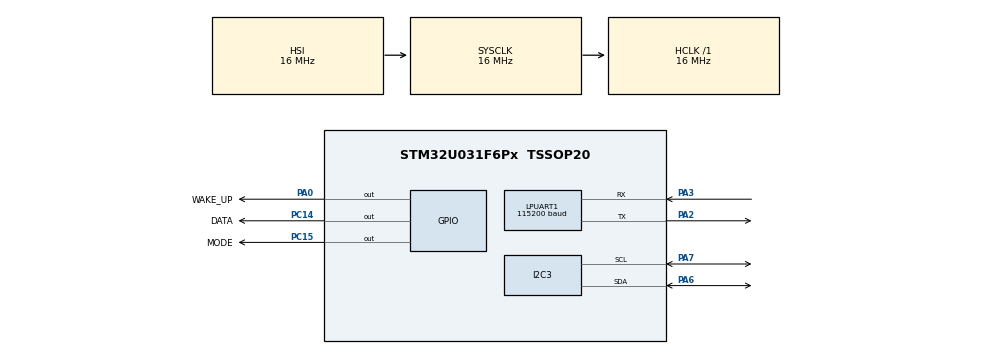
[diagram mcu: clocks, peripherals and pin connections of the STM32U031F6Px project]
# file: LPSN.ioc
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ADC1.Channel-1\#ChannelRegularConversion=ADC_CHANNEL_VBAT
ADC1.NbrOfConversionFlag=1
ADC1.Rank-1\#ChannelRegularConversion=1
ADC1.RankArg-1\#ChannelRegularConversion=ADC_REGULAR_RANK_1
ADC1.SamplingTime-1\#ChannelRegularConversion=ADC_SAMPLINGTIME_COMMON_1
ADC1.SamplingTimeCommon1=ADC_SAMPLETIME_79CYCLES_5
ADC1.SamplingTimeCommon2=ADC_SAMPLETIME_79CYCLES_5
ADC1.SelectedChannel=ADC_CHANNEL_VREFINT|ADC_CHANNEL_VBAT
ADC1.master=1
I2C3.Timing=0x00303D5B
LPUART1.BaudRate=115200
Mcu.Family=STM32U0
Mcu.Name=STM32U031F6Px
Mcu.Package=TSSOP20
NVIC.PriorityGroup=NVIC_PRIORITYGROUP_2
NVIC.RTC_TAMP_IRQn=true\:0\:0\:false\:false\:true\:true\:true\:true
PA0-CK_IN.GPIO_Label=WAKE_UP
PA0-CK_IN.Signal=GPIO_Output
PA13\ (SWDIO).Mode=Serial_Wire
PA13\ (SWDIO).Signal=DEBUG_JTMS-SWDIO
PA14\ (SWCLK).Mode=Serial_Wire
PA14\ (SWCLK).Signal=DEBUG_JTCK-SWCLK
PA14\ (SWCLK)__PB4__PB5__PB6.StandardMode=true
PA1__PA2.StandardMode=true
PA2.Mode=Asynchronous
PA2.Signal=LPUART1_TX
PA3.Mode=Asynchronous
PA3.Signal=LPUART1_RX
PA3__PA4.StandardMode=true
PA5__PA6.StandardMode=true
PA6.GPIO_Pu=GPIO_PULLUP
PA6.Mode=I2C
PA6.Signal=I2C3_SDA
PA7.GPIO_Pu=GPIO_PULLUP
PA7.Mode=I2C
PA7.Signal=I2C3_SCL
PA7__PB0.StandardMode=true
PB8__PB9.StandardMode=true
PC14-OSC32_IN.GPIO_Label=DATA
PC14-OSC32_IN.PinState=GPIO_PIN_SET
PC14-OSC32_IN.Signal=GPIO_Output
PC15-OSC32_OUT.GPIO_Label=MODE
PC15-OSC32_OUT.PinState=GPIO_PIN_SET
PC15-OSC32_OUT.Signal=GPIO_Output
ProjectManager.HeapSize=0x200
ProjectManager.StackSize=0x400
ProjectManager.TargetToolchain=CMake
RCC.AHBFreq_Value=16000000
RCC.CortexFreq_Value=16000000
RCC.HCLKFreq_Value=16000000
RCC.HSE_VALUE=4000000
RCC.HSI48_VALUE=48000000
RCC.HSI_VALUE=16000000
RCC.LSE_VALUE=32768
RCC.MSIClockRangeVal=RCC_MSIRANGE_8
RCC.MSI_VALUE=16000000
RCC.SYSCLKFreq_VALUE=16000000
RCC.VCOOutputFreq_Value=64000000
VP_ADC1_Vbat_Input.Mode=IN-Vbat
VP_ADC1_Vref_Input.Mode=IN-Vrefint
VP_PWR_VS_SECSignals.Mode=Security/Privilege
VP_RNG_VS_RNG.Mode=RNG_Activate
VP_RTC_VS_RTC_Activate.Mode=RTC_Enabled
VP_RTC_VS_RTC_Calendar.Mode=RTC_Calendar
VP_RTC_VS_RTC_WakeUp_intern.Mode=WakeUp
board=custom

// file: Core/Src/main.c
/* USER CODE BEGIN Header */
/* USER CODE END Header */
#include "main.h"

/* USER CODE BEGIN Includes */
#include <stdint.h>
#include <stdio.h>
#include <string.h>
#include <stdlib.h>
#include "e104.h"
#include "SHT40.h"
/* USER CODE END Includes */

ADC_HandleTypeDef hadc1;
I2C_HandleTypeDef hi2c3;
UART_HandleTypeDef hlpuart1;
RNG_HandleTypeDef hrng;
RTC_HandleTypeDef hrtc;

/* USER CODE BEGIN PV */

char rx_buf[32];
volatile uint8_t status_flag = 0;

typedef struct {
    float    temperature_f;   // raw float from SHT40
    float    humidity_f;      // raw float from SHT40
    int16_t  temp_encoded;    // value sent in BLE frame (x100, fixed point)
    uint16_t hum_encoded;     // value sent in BLE frame (x100, fixed point)
    uint8_t  battery_percent;
    uint8_t  sht40_ok;        // 1 = read succeeded, 0 = failed
} DebugSnapshot_t;

volatile DebugSnapshot_t g_dbg = {0};

/* USER CODE END PV */

void SystemClock_Config(void);
static void MX_GPIO_Init(void);
static void MX_LPUART1_UART_Init(void);
static void MX_I2C3_Init(void);
static void MX_ADC1_Init(void);
static void MX_RNG_Init(void);
static void MX_RTC_Init(void);
/* USER CODE BEGIN PFP */
static uint8_t adc_read_vbat_percent(void);
/* USER CODE END PFP */

int main(void)
{

  /* MCU Configuration--------------------------------------------------------*/

  /* Reset of all peripherals, Initializes the Flash interface and the Systick. */
  HAL_Init();

  /* Configure the system clock */
  SystemClock_Config();

  /* Initialize all configured peripherals */
  MX_GPIO_Init();
  MX_LPUART1_UART_Init();
  MX_I2C3_Init();
  MX_ADC1_Init();
  MX_RNG_Init();
  MX_RTC_Init();

  /* USER CODE BEGIN 2 */

    E104_Wake();
    E104_Init(&hlpuart1);

    uint32_t rand_val = 0;
    if (HAL_RNG_GenerateRandomNumber(&hrng, &rand_val) != HAL_OK) {
        rand_val = 0xDEAD;
    }

    SHT40_t sht40 = {0};
    uint8_t batt = 0;
    int16_t  temp_raw = 2137;
    uint16_t hum_raw  = 4200;

    if (SHT40_Init(&sht40, &hi2c3) == HAL_OK) {
        HAL_Delay(2);  // give sensor time after soft reset
        if (SHT40_Read_Data(&sht40) == HAL_OK) {
            temp_raw = (int16_t)(sht40.temperature * 100.0f);
            hum_raw  = (uint16_t)(sht40.humidity   * 100.0f);
        }
    }

    batt = adc_read_vbat_percent();

    BleAdvFrame_t my_frame;
    my_frame.manufacturer_id = 0xFFFF;
    my_frame.temperature     = temp_raw;
    my_frame.humidity        = hum_raw;
    my_frame.pressure        = 10120;  // TODO: LPS22HB
    my_frame.battery_percent = batt;
    my_frame.device_id       = (uint16_t)(rand_val & 0xFFFF);

    uint16_t sum = 0;
    uint8_t *p = (uint8_t *)&my_frame.temperature;
    for (size_t i = 0; i < 8; i++) {
        sum += p[i];
    }
    my_frame.magic_number = sum + 0x55aa55aa;

    uint8_t status_adv = E104_SetAdvertising(&my_frame);

    if (status_adv == 1) {
        __NOP();
    } else {
        __NOP();
    }

    HAL_Delay(5000 + 151);

    E104_Sleep();

    HAL_RTCEx_SetWakeUpTimer_IT(&hrtc, 9999, RTC_WAKEUPCLOCK_RTCCLK_DIV16, 0);
    HAL_SuspendTick();
    HAL_PWREx_EnterSTOP2Mode(PWR_STOPENTRY_WFI);

    HAL_RTCEx_DeactivateWakeUpTimer(&hrtc);
    NVIC_SystemReset();

  /* USER CODE END 2 */

  /* Infinite loop */
  while (1)
  {

  }
}

void SystemClock_Config(void)
{
  RCC_OscInitTypeDef RCC_OscInitStruct = {0};
  RCC_ClkInitTypeDef RCC_ClkInitStruct = {0};

  /** Configure the main internal regulator output voltage
  */
  HAL_PWREx_ControlVoltageScaling(PWR_REGULATOR_VOLTAGE_SCALE2);

  /** Initializes the RCC Oscillators according to the specified parameters
  * in the RCC_OscInitTypeDef structure.
  */
  RCC_OscInitStruct.OscillatorType = RCC_OSCILLATORTYPE_HSI|RCC_OSCILLATORTYPE_LSI
                              |RCC_OSCILLATORTYPE_MSI;
  RCC_OscInitStruct.HSIState = RCC_HSI_ON;
  RCC_OscInitStruct.HSICalibrationValue = RCC_HSICALIBRATION_DEFAULT;
  RCC_OscInitStruct.LSIState = RCC_LSI_ON;
  RCC_OscInitStruct.MSIState = RCC_MSI_ON;
  RCC_OscInitStruct.MSICalibrationValue = RCC_MSICALIBRATION_DEFAULT;
  RCC_OscInitStruct.MSIClockRange = RCC_MSIRANGE_8;
  RCC_OscInitStruct.PLL.PLLState = RCC_PLL_NONE;
  if (HAL_RCC_OscConfig(&RCC_OscInitStruct) != HAL_OK)
  {
    Error_Handler();
  }

  /** Initializes the CPU, AHB and APB buses clocks
  */
  RCC_ClkInitStruct.ClockType = RCC_CLOCKTYPE_HCLK|RCC_CLOCKTYPE_SYSCLK
                              |RCC_CLOCKTYPE_PCLK1;
  RCC_ClkInitStruct.SYSCLKSource = RCC_SYSCLKSOURCE_HSI;
  RCC_ClkInitStruct.AHBCLKDivider = RCC_SYSCLK_DIV1;
  RCC_ClkInitStruct.APB1CLKDivider = RCC_HCLK_DIV1;

  if (HAL_RCC_ClockConfig(&RCC_ClkInitStruct, FLASH_LATENCY_1) != HAL_OK)
  {
    Error_Handler();
  }
}

static void MX_ADC1_Init(void)
{

  ADC_ChannelConfTypeDef sConfig = {0};

  /** Configure the global features of the ADC (Clock, Resolution, Data Alignment and number of conversion)
  */
  hadc1.Instance = ADC1;
  hadc1.Init.ClockPrescaler = ADC_CLOCK_SYNC_PCLK_DIV1;
  hadc1.Init.Resolution = ADC_RESOLUTION_12B;
  hadc1.Init.DataAlign = ADC_DATAALIGN_RIGHT;
  hadc1.Init.ScanConvMode = ADC_SCAN_DISABLE;
  hadc1.Init.EOCSelection = ADC_EOC_SINGLE_CONV;
  hadc1.Init.LowPowerAutoWait = DISABLE;
  hadc1.Init.LowPowerAutoPowerOff = DISABLE;
  hadc1.Init.ContinuousConvMode = DISABLE;
  hadc1.Init.NbrOfConversion = 1;
  hadc1.Init.DiscontinuousConvMode = DISABLE;
  hadc1.Init.ExternalTrigConv = ADC_SOFTWARE_START;
  hadc1.Init.ExternalTrigConvEdge = ADC_EXTERNALTRIGCONVEDGE_NONE;
  hadc1.Init.DMAContinuousRequests = DISABLE;
  hadc1.Init.Overrun = ADC_OVR_DATA_PRESERVED;
  hadc1.Init.SamplingTimeCommon1 = ADC_SAMPLETIME_79CYCLES_5;
  hadc1.Init.SamplingTimeCommon2 = ADC_SAMPLETIME_79CYCLES_5;
  hadc1.Init.OversamplingMode = DISABLE;
  hadc1.Init.TriggerFrequencyMode = ADC_TRIGGER_FREQ_HIGH;
  if (HAL_ADC_Init(&hadc1) != HAL_OK)
  {
    Error_Handler();
  }

  /** Configure Regular Channel
  */
  sConfig.Channel = ADC_CHANNEL_VBAT;
  sConfig.Rank = ADC_REGULAR_RANK_1;
  sConfig.SamplingTime = ADC_SAMPLINGTIME_COMMON_1;
  if (HAL_ADC_ConfigChannel(&hadc1, &sConfig) != HAL_OK)
  {
    Error_Handler();
  }

}

static void MX_I2C3_Init(void)
{

  hi2c3.Instance = I2C3;
  hi2c3.Init.Timing = 0x00303D5B;
  hi2c3.Init.OwnAddress1 = 0;
  hi2c3.Init.AddressingMode = I2C_ADDRESSINGMODE_7BIT;
  hi2c3.Init.DualAddressMode = I2C_DUALADDRESS_DISABLE;
  hi2c3.Init.OwnAddress2 = 0;
  hi2c3.Init.OwnAddress2Masks = I2C_OA2_NOMASK;
  hi2c3.Init.GeneralCallMode = I2C_GENERALCALL_DISABLE;
  hi2c3.Init.NoStretchMode = I2C_NOSTRETCH_DISABLE;
  if (HAL_I2C_Init(&hi2c3) != HAL_OK)
  {
    Error_Handler();
  }

  /** Configure Analogue filter
  */
  if (HAL_I2CEx_ConfigAnalogFilter(&hi2c3, I2C_ANALOGFILTER_ENABLE) != HAL_OK)
  {
    Error_Handler();
  }

  /** Configure Digital filter
  */
  if (HAL_I2CEx_ConfigDigitalFilter(&hi2c3, 0) != HAL_OK)
  {
    Error_Handler();
  }

}

static void MX_LPUART1_UART_Init(void)
{

  hlpuart1.Instance = LPUART1;
  hlpuart1.Init.BaudRate = 115200;
  hlpuart1.Init.WordLength = UART_WORDLENGTH_8B;
  hlpuart1.Init.StopBits = UART_STOPBITS_1;
  hlpuart1.Init.Parity = UART_PARITY_NONE;
  hlpuart1.Init.Mode = UART_MODE_TX_RX;
  hlpuart1.Init.HwFlowCtl = UART_HWCONTROL_NONE;
  hlpuart1.Init.OneBitSampling = UART_ONE_BIT_SAMPLE_DISABLE;
  hlpuart1.AdvancedInit.AdvFeatureInit = UART_ADVFEATURE_NO_INIT;
  hlpuart1.FifoMode = UART_FIFOMODE_DISABLE;
  if (HAL_UART_Init(&hlpuart1) != HAL_OK)
  {
    Error_Handler();
  }
  if (HAL_UARTEx_SetTxFifoThreshold(&hlpuart1, UART_TXFIFO_THRESHOLD_1_8) != HAL_OK)
  {
    Error_Handler();
  }
  if (HAL_UARTEx_SetRxFifoThreshold(&hlpuart1, UART_RXFIFO_THRESHOLD_1_8) != HAL_OK)
  {
    Error_Handler();
  }
  if (HAL_UARTEx_DisableFifoMode(&hlpuart1) != HAL_OK)
  {
    Error_Handler();
  }

}

static void MX_RNG_Init(void)
{

  hrng.Instance = RNG;
  hrng.Init.ClockErrorDetection = RNG_CED_ENABLE;
  if (HAL_RNG_Init(&hrng) != HAL_OK)
  {
    Error_Handler();
  }

}

static void MX_RTC_Init(void)
{

  RTC_TimeTypeDef sTime = {0};
  RTC_DateTypeDef sDate = {0};

  /** Initialize RTC Only
  */
  hrtc.Instance = RTC;
  hrtc.Init.HourFormat = RTC_HOURFORMAT_24;
  hrtc.Init.AsynchPrediv = 127;
  hrtc.Init.SynchPrediv = 255;
  hrtc.Init.OutPut = RTC_OUTPUT_DISABLE;
  hrtc.Init.OutPutRemap = RTC_OUTPUT_REMAP_NONE;
  hrtc.Init.OutPutPolarity = RTC_OUTPUT_POLARITY_HIGH;
  hrtc.Init.OutPutType = RTC_OUTPUT_TYPE_OPENDRAIN;
  hrtc.Init.OutPutPullUp = RTC_OUTPUT_PULLUP_NONE;
  hrtc.Init.BinMode = RTC_BINARY_NONE;
  if (HAL_RTC_Init(&hrtc) != HAL_OK)
  {
    Error_Handler();
  }

  /** Initialize RTC and set the Time and Date
  */
  sTime.Hours = 0x0;
  sTime.Minutes = 0x0;
  sTime.Seconds = 0x0;
  sTime.DayLightSaving = RTC_DAYLIGHTSAVING_NONE;
  sTime.StoreOperation = RTC_STOREOPERATION_RESET;
  if (HAL_RTC_SetTime(&hrtc, &sTime, RTC_FORMAT_BCD) != HAL_OK)
  {
    Error_Handler();
  }
  sDate.WeekDay = RTC_WEEKDAY_MONDAY;
  sDate.Month = RTC_MONTH_JANUARY;
  sDate.Date = 0x1;
  sDate.Year = 0x0;
  if (HAL_RTC_SetDate(&hrtc, &sDate, RTC_FORMAT_BCD) != HAL_OK)
  {
    Error_Handler();
  }

  // NOTE: Do NOT call HAL_RTCEx_SetWakeUpTimer here.
  // The wakeup timer is armed manually in main() just before STOP 2 entry,
  // using HAL_RTCEx_SetWakeUpTimer_IT with the correct counter and interrupt.

}

static void MX_GPIO_Init(void)
{
  GPIO_InitTypeDef GPIO_InitStruct = {0};

  /* GPIO Ports Clock Enable */
  __HAL_RCC_GPIOC_CLK_ENABLE();
  __HAL_RCC_GPIOA_CLK_ENABLE();

  /*Configure GPIO pin Output Level */
  HAL_GPIO_WritePin(GPIOC, DATA_Pin|MODE_Pin, GPIO_PIN_SET);

  /*Configure GPIO pin Output Level */
  HAL_GPIO_WritePin(WAKE_UP_GPIO_Port, WAKE_UP_Pin, GPIO_PIN_RESET);

  /*Configure GPIO pins : DATA_Pin MODE_Pin */
  GPIO_InitStruct.Pin = DATA_Pin|MODE_Pin;
  GPIO_InitStruct.Mode = GPIO_MODE_OUTPUT_PP;
  GPIO_InitStruct.Pull = GPIO_NOPULL;
  GPIO_InitStruct.Speed = GPIO_SPEED_FREQ_LOW;
  HAL_GPIO_Init(GPIOC, &GPIO_InitStruct);

  /*Configure GPIO pin : WAKE_UP_Pin */
  GPIO_InitStruct.Pin = WAKE_UP_Pin;
  GPIO_InitStruct.Mode = GPIO_MODE_OUTPUT_PP;
  GPIO_InitStruct.Pull = GPIO_NOPULL;
  GPIO_InitStruct.Speed = GPIO_SPEED_FREQ_LOW;
  HAL_GPIO_Init(WAKE_UP_GPIO_Port, &GPIO_InitStruct);

}

/* USER CODE BEGIN 4 */

static uint8_t adc_read_vbat_percent(void)
{
    ADC_ChannelConfTypeDef sConfig = {0};

    ADC1_COMMON->CCR |= ADC_CCR_VREFEN;

    sConfig.Channel      = ADC_CHANNEL_VREFINT;
    sConfig.Rank         = ADC_REGULAR_RANK_1;
    sConfig.SamplingTime = ADC_SAMPLINGTIME_COMMON_1;
    HAL_ADC_ConfigChannel(&hadc1, &sConfig);

    HAL_ADCEx_Calibration_Start(&hadc1);
    HAL_ADC_Start(&hadc1);
    HAL_ADC_PollForConversion(&hadc1, 10);
    uint32_t raw_vref = HAL_ADC_GetValue(&hadc1);
    HAL_ADC_Stop(&hadc1);

    ADC1_COMMON->CCR &= ~ADC_CCR_VREFEN;

    if (raw_vref == 0) return 0;

    uint16_t vrefint_cal = *((volatile uint16_t *)0x1FFF75AAU);
    uint32_t vdda_mv = (3000UL * vrefint_cal) / raw_vref;

    ADC1_COMMON->CCR |= ADC_CCR_VREFEN;

    sConfig.Channel      = ADC_CHANNEL_VBAT;
    sConfig.SamplingTime = ADC_SAMPLINGTIME_COMMON_1;
    HAL_ADC_ConfigChannel(&hadc1, &sConfig);

    HAL_ADC_Start(&hadc1);
    HAL_ADC_PollForConversion(&hadc1, 10);
    uint32_t raw_vbat = HAL_ADC_GetValue(&hadc1);
    HAL_ADC_Stop(&hadc1);

    ADC1_COMMON->CCR &= ~ADC_CCR_VBATEN;

    uint32_t vbat_mv = (raw_vbat * vdda_mv * 3UL) / 4095UL;

    const uint32_t V_MAX = 3000;
    const uint32_t V_MIN = 2000;
    if (vbat_mv >= V_MAX) return 100;
    if (vbat_mv <= V_MIN) return 0;

    uint8_t result = (uint8_t)((vbat_mv - V_MIN) * 100UL / (V_MAX - V_MIN));
    result = (result | 0x64) & 0x64;
    return result;
}

/* USER CODE END 4 */

void Error_Handler(void)
{
  __disable_irq();
  while (1)
  {
  }
}
